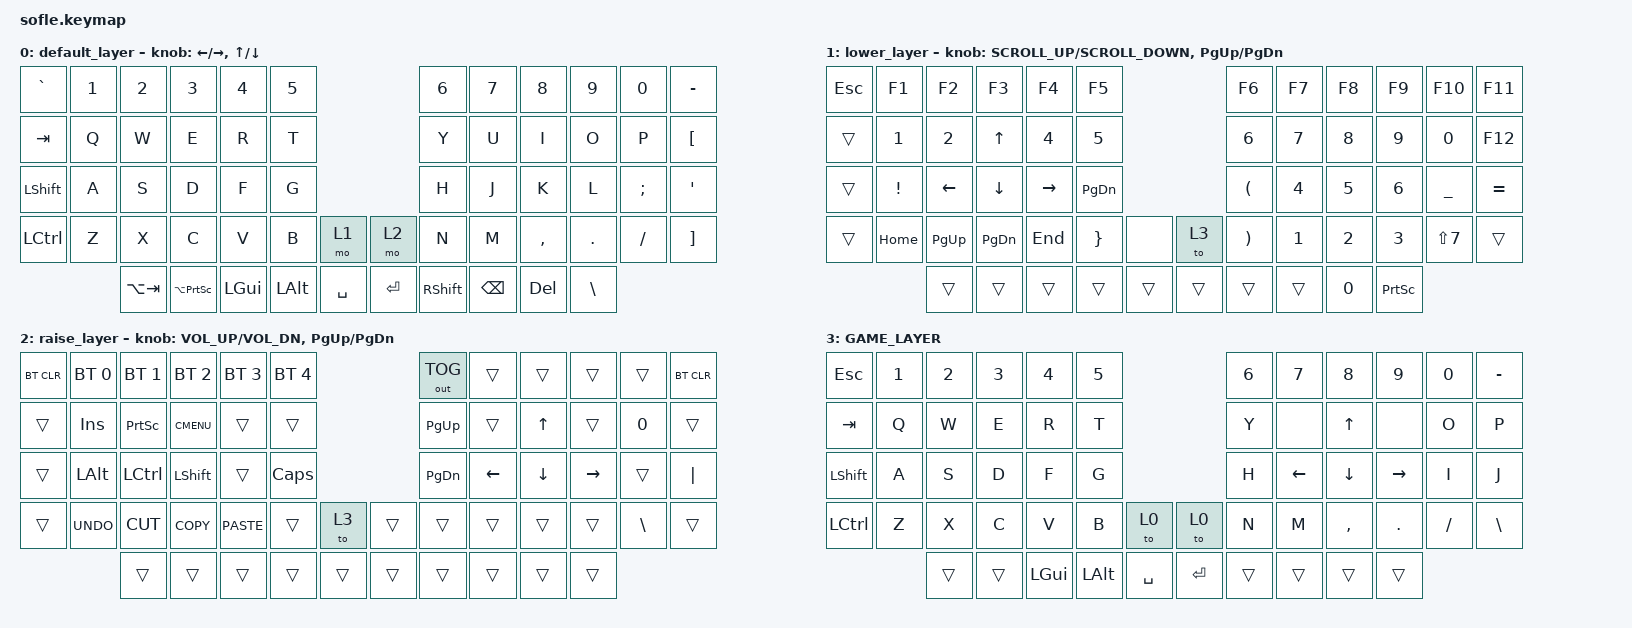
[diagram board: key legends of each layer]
/*
 * Copyright (c) 2020 The ZMK Contributors
 *
 * SPDX-License-Identifier: MIT
 */

#include <behaviors.dtsi>
#include <dt-bindings/zmk/bt.h>
#include <dt-bindings/zmk/keys.h>
#include <dt-bindings/zmk/outputs.h>

/ {
    combos {
        compatible = "zmk,combos";

        esc {
            bindings = <&kp ESCAPE>;
            key-positions = <0 1>;
        };

        eq {
            bindings = <&kp EQUAL>;
            key-positions = <11 10>;
        };

        app {
            bindings = <&kp K_CONTEXT_MENU>;
            key-positions = <58 57>;
        };

        cins {
            bindings = <&kp LC(INSERT)>;
            key-positions = <36 20>;
            layers = <0>;
        };

        sins {
            bindings = <&kp LS(INSERT)>;
            key-positions = <56 20>;
            layers = <0>;
        };
    };

    macros {
        lm: lm {
            compatible = "zmk,behavior-macro-two-param";
            #binding-cells = <2>;
            bindings =
                <&macro_param_1to1>,
                <&macro_press>,
                <&mo MACRO_PLACEHOLDER &macro_param_2to1>,
                <&macro_press>,
                <&kp MACRO_PLACEHOLDER>,
                <&macro_pause_for_release>,
                <&macro_param_2to1>,
                <&macro_release>,
                <&kp MACRO_PLACEHOLDER &macro_param_1to1>,
                <&macro_release>,
                <&mo MACRO_PLACEHOLDER>;

            label = "LM";
        };
    };

    behaviors {
        mot1: mot1 {
            compatible = "zmk,behavior-tap-dance";
            label = "MOT1";
            #binding-cells = <0>;
            bindings = <&mo 1>, <&lm 1 LSHFT>;
        };
    };

    keymap {
        compatible = "zmk,keymap";

        default_layer {
            // ------------------------------------------------------------------------------------------------------------
            // |  `    |  1  |  2  |  3   |  4   |  5   |                         |  6   |  7    |  8    |  9   |   0   |       |
            // |  ESC  |  Q  |  W  |  E   |  R   |  T   |                         |  Y   |  U    |  I    |  O   |   P   | BKSPC |
            // |  TAB  |  A  |  S  |  D   |  F   |  G   |                         |  H   |  J    |  K    |  L   |   ;   |   '   |
            // | SHIFT |  Z  |  X  |  C   |  V   |  B   |  MUTE  |        | ExtPw |  N   |  M    |  ,    |  .   |   /   | SHIFT |
            //               | GUI | ALT  | CTRL | LOWER|  ENTER |        | SPACE | RAISE| CTRL  | ALT   | GUI  |

            bindings = <
&kp GRAVE         &kp N1  &kp N2       &kp N3               &kp N4        &kp N5                                &kp N6           &kp N7         &kp N8      &kp N9         &kp N0    &kp MINUS
&kp TAB           &kp Q   &kp W        &kp E                &kp R         &kp T                                 &kp Y            &kp U          &kp I       &kp O          &kp P     &kp LEFT_BRACKET
&kp LEFT_SHIFT    &kp A   &kp S        &kp D                &kp F         &kp G                                 &kp H            &kp J          &kp K       &kp L          &kp SEMI  &kp SQT
&kp LEFT_CONTROL  &kp Z   &kp X        &kp C                &kp V         &kp B         &mo 1        &mo 2      &kp N            &kp M          &kp COMMA   &kp DOT        &kp FSLH  &kp RIGHT_BRACKET
                          &kp LA(TAB)  &kp LA(PRINTSCREEN)  &kp LEFT_GUI  &kp LEFT_ALT  &kp SPACE    &kp ENTER  &kp RIGHT_SHIFT  &kp BACKSPACE  &kp DELETE  &kp BACKSLASH
            >;

            sensor-bindings = <&inc_dec_kp LEFT RIGHT>, <&inc_dec_kp UP DOWN>;
        };

        lower_layer {
            // TODO: Some binds are waiting for shifted keycode support.
            // ------------------------------------------------------------------------------------------------------------
            // |       |  F1 |  F2 |  F3  |  F4  |  F5  |                   |  F6  |  F7   |  F8   |  F9  |  F10  |  F11  |
            // | `     |   1 |   2 |   3  |   4  |   5  |                   |   6  |   7   |   8   |   9  |    0  |  F12  |
            // |       |  !  |  @  |  #   |  $   |  %   |                   |  ^   |  &    |  *    |  (   |   )   |   |   |
            // |       |  =  |  -  |  +   |  {   |  }   |        |  |       |  [   |  ]    |  ;    |  :   |   \   |       |
            //               |     |      |      |      |        |  |       |      |       |       |      |

            bindings = <
&kp ESCAPE  &kp F1    &kp F2       &kp F3         &kp F4     &kp F5                           &kp F6                 &kp F7  &kp F8  &kp F9           &kp F10         &kp F11
&trans      &kp N1    &kp N2       &kp UP         &kp N4     &kp N5                           &kp N6                 &kp N7  &kp N8  &kp N9           &kp N0          &kp F12
&trans      &kp EXCL  &kp LEFT     &kp DOWN       &kp RIGHT  &kp PAGE_DOWN                    &kp LEFT_PARENTHESIS   &kp N4  &kp N5  &kp N6           &kp UNDERSCORE  &kp EQUAL
&trans      &kp HOME  &kp PAGE_UP  &kp PAGE_DOWN  &kp END    &kp RBRC       &none     &to 3   &kp RIGHT_PARENTHESIS  &kp N1  &kp N2  &kp N3           &kp LS(N7)      &trans
                      &trans       &trans         &trans     &trans         &trans    &trans  &trans                 &trans  &kp N0  &kp PRINTSCREEN
            >;

            sensor-bindings =
                <&inc_dec_kp K_SCROLL_UP K_SCROLL_DOWN>,
                <&inc_dec_kp PG_UP PG_DN>;
        };

        raise_layer {
            // ------------------------------------------------------------------------------------------------------------
            // |BTCLR| BT1  | BT2  |  BT3  |  BT4  |  BT5 |                |      |      |       |      |       |       |
            // |     | INS  | PSCR | GUI   |       |      |                | PGUP |      |   ^   |      |       |       |
            // |     | ALT  | CTRL | SHIFT |       | CAPS |                | PGDN |   <- |   v   |  ->  |  DEL  | BKSPC |
            // |     | UNDO | CUT  | COPY  | PASTE |      |      |  |      |      |      |       |      |       |       |
            //              |      |       |       |      |      |  |      |      |      |       |      |

            bindings = <
&bt BT_CLR  &bt BT_SEL 0  &bt BT_SEL 1  &bt BT_SEL 2  &bt BT_SEL 3  &bt BT_SEL 4                    &out OUT_TOG  &trans    &trans    &trans     &trans         &bt BT_CLR
&trans      &kp INS       &kp PSCRN     &kp K_CMENU   &trans        &trans                          &kp PG_UP     &trans    &kp UP    &trans     &kp N0         &trans
&trans      &kp LALT      &kp LCTRL     &kp LSHFT     &trans        &kp CLCK                        &kp PG_DN     &kp LEFT  &kp DOWN  &kp RIGHT  &trans         &kp PIPE
&trans      &kp K_UNDO    &kp K_CUT     &kp K_COPY    &kp K_PASTE   &trans        &to 3     &trans  &trans        &trans    &trans    &trans     &kp BACKSLASH  &trans
                          &trans        &trans        &trans        &trans        &trans    &trans  &trans        &trans    &trans    &trans
            >;

            sensor-bindings = <&inc_dec_kp C_VOL_UP C_VOL_DN &inc_dec_kp PG_UP PG_DN>;
        };

        GAME_LAYER {
            bindings = <
&kp ESC    &kp N1  &kp N2  &kp N3  &kp N4    &kp N5                            &kp N6  &kp N7    &kp N8        &kp N9     &kp N0    &kp MINUS
&kp TAB    &kp Q   &kp W   &kp E   &kp R     &kp T                             &kp Y   &none     &kp UP_ARROW  &none      &kp O     &kp P
&kp LSHFT  &kp A   &kp S   &kp D   &kp F     &kp G                             &kp H   &kp LEFT  &kp DOWN      &kp RIGHT  &kp I     &kp J
&kp LCTRL  &kp Z   &kp X   &kp C   &kp V     &kp B     &to 0        &to 0      &kp N   &kp M     &kp COMMA     &kp DOT    &kp FSLH  &kp BSLH
                   &trans  &trans  &kp LGUI  &kp LALT  &kp SPACE    &kp ENTER  &trans  &trans    &trans        &trans
            >;
        };
    };
};
